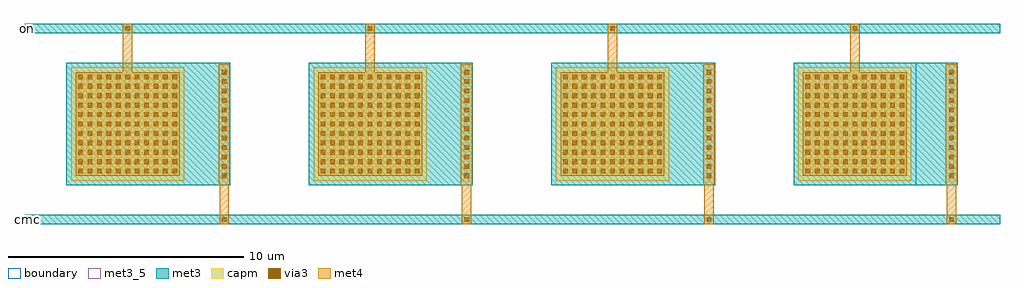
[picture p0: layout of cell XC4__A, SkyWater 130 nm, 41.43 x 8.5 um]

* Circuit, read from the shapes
.subckt XC4__A cmc on
XC1 on cmc sky130_fd_pr__cap_mim_m3_1 w=4.8 l=4.8 m=4
.ends

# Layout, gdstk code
import gdstk
lib = gdstk.Library(unit=1e-6, precision=1e-09)
def R(c, l, rs):  # rectangles x0, y0, x1, y1
    for r in rs: c.add(gdstk.rectangle(r[:2], r[2:], *l))
def A(c, l, x, y, w, h, nx, ny, dx, dy):  # array of equal rectangles
    R(c, l, [(x+i*dx, y+j*dy, x+i*dx+w, y+j*dy+h) for i in range(nx) for j in range(ny)])
met3_5 = (70, 5)
met3 = (70, 20)
via3 = (70, 44)
met4 = (71, 20)
capm = (89, 44)
boundary = (235, 4)

sky130_fd_pr__cap_mim_m3 = lib.new_cell('sky130_fd_pr__cap_mim_m3_1_MX4MQY')
A(sky130_fd_pr__cap_mim_m3, met3, -18.915, -2.6, 6.96, 5.2, 4, 1, 10.29, 0)
A(sky130_fd_pr__cap_mim_m3, via3, -12.315, -2.3, 0.2, 0.2, 4, 12, 10.29, 0.4)
A(sky130_fd_pr__cap_mim_m3, via3, -18.415, -2.1, 0.2, 0.2, 11, 11, 0.4, 0.4)
A(sky130_fd_pr__cap_mim_m3, via3, -8.125, -2.1, 0.2, 0.2, 11, 11, 0.4, 0.4)
A(sky130_fd_pr__cap_mim_m3, via3, 2.165, -2.1, 0.2, 0.2, 11, 11, 0.4, 0.4)
A(sky130_fd_pr__cap_mim_m3, via3, 12.455, -2.1, 0.2, 0.2, 11, 11, 0.4, 0.4)
A(sky130_fd_pr__cap_mim_m3, met4, -12.455, -2.54, 0.48, 5.08, 4, 1, 10.29, 0)
A(sky130_fd_pr__cap_mim_m3, met4, -18.52, -2.205, 4.41, 4.41, 4, 1, 10.29, 0)
A(sky130_fd_pr__cap_mim_m3, capm, -18.715, -2.4, 4.8, 4.8, 4, 1, 10.29, 0)
R(sky130_fd_pr__cap_mim_m3, boundary, [(11.955,-2.6,17.155,2.6)])
sky130_fd_pr__cap_mim_m3.add(gdstk.Label('C2_0', (-12.215,0), layer=71, texttype=5))
sky130_fd_pr__cap_mim_m3.add(gdstk.Label('C1_0', (-16.315,0), layer=71, texttype=5))
sky130_fd_pr__cap_mim_m3.add(gdstk.Label('C2_1', (-1.925,0), layer=71, texttype=5))
sky130_fd_pr__cap_mim_m3.add(gdstk.Label('C1_1', (-6.025,0), layer=71, texttype=5))
sky130_fd_pr__cap_mim_m3.add(gdstk.Label('C2_2', (8.365,0), layer=71, texttype=5))
sky130_fd_pr__cap_mim_m3.add(gdstk.Label('C1_2', (4.265,0), layer=71, texttype=5))
sky130_fd_pr__cap_mim_m3.add(gdstk.Label('C2_3', (18.655,0), layer=71, texttype=5))
sky130_fd_pr__cap_mim_m3.add(gdstk.Label('C1_3', (14.555,0), layer=71, texttype=5))

xc4_mim = lib.new_cell('XC4_mim')
xc4_mim.add(gdstk.Reference(sky130_fd_pr__cap_mim_m3, (-11.955,2.6)))

xc4__a = lib.new_cell('XC4__A')
R(xc4__a, met3_5, [(-1.7,-1.5,-1.6,-1.4), (-1.7,6.6,-1.6,6.7)])
R(xc4__a, met3, [(-1.8,-1.65,39.63,-1.25), (-1.8,6.45,39.63,6.85)])
A(xc4__a, via3, 6.6, -1.55, 0.2, 0.2, 4, 1, 10.29, 0)
A(xc4__a, via3, 2.5, 6.55, 0.2, 0.2, 4, 1, 10.29, 0)
A(xc4__a, met4, 6.5, -1.65, 0.4, 1.91, 4, 1, 10.29, 0)
A(xc4__a, met4, 2.4, 4.605, 0.4, 2.245, 4, 1, 10.29, 0)
xc4__a.add(gdstk.Reference(xc4_mim, (30.87,0)))
xc4__a.add(gdstk.Label('on', (-1.65,6.65), layer=70, texttype=5))
xc4__a.add(gdstk.Label('cmc', (-1.65,-1.45), layer=70, texttype=5))

lib.write_gds('XC4__A.gds')
